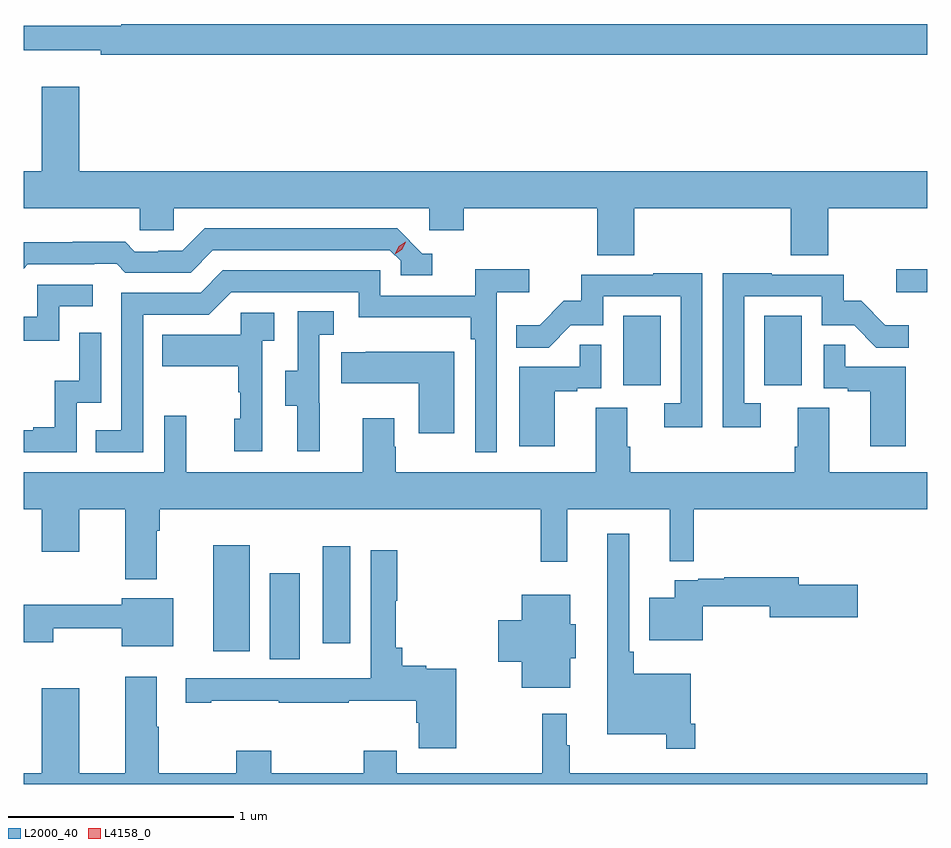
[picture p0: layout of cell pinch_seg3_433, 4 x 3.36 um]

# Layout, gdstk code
import gdstk
lib = gdstk.Library(unit=1e-6, precision=1e-09)
def R(c, l, rs):  # rectangles x0, y0, x1, y1
    for r in rs: c.add(gdstk.rectangle(r[:2], r[2:], *l))
def P(c, l, *ps):  # polygons
    for p in ps: c.add(gdstk.Polygon(p, *l))
L2000_40 = (2000, 40)
L4158_0 = (4158, 0)

pinch_seg3_433 = lib.new_cell('pinch_seg3_433')
R(pinch_seg3_433, L2000_40, [(933.248,666.952,933.382,667.333), (932.999,666.987,933.16,667.456), (933.482,667.023,933.604,667.453), (934.814,668.166,934.978,668.473), (935.438,668.166,935.602,668.473), (936.021,668.576,936.159,668.678)])
P(pinch_seg3_433, L2000_40, [(936.159,669.764),(932.591,669.764),(932.591,669.757),(932.159,669.757),(932.159,669.647),(932.5,669.647),(932.5,669.628),(936.159,669.628)],
  [(934.862,668.948),(935.555,668.948),(935.555,668.74),(935.72,668.74),(935.72,668.948),(936.159,668.948),(936.159,669.112),(932.404,669.112),(932.404,669.487),(932.24,669.487),(932.24,669.112),(932.159,669.112),(932.159,668.948),(932.673,668.948),(932.673,668.85),(932.823,668.85),(932.823,668.948),(933.954,668.948),(933.954,668.85),(934.106,668.85),(934.106,668.948),(934.697,668.948),(934.697,668.74),(934.862,668.74)],
  [(933.967,668.748),(933.924,668.748),(933.813,668.859),(932.96,668.859),(932.861,668.76),(932.754,668.76),(932.754,668.757),(932.651,668.757),(932.609,668.8),(932.376,668.8),(932.376,668.797),(932.159,668.797),(932.159,668.681),(932.178,668.7),(932.471,668.7),(932.471,668.703),(932.57,668.703),(932.609,668.664),(932.898,668.664),(932.997,668.763),(933.78,668.763),(933.828,668.715),(933.828,668.652),(933.967,668.652)],
  [(932.688,668.478),(932.979,668.478),(933.078,668.577),(933.642,668.577),(933.642,668.465),(934.138,668.465),(934.138,668.369),(934.158,668.369),(934.158,667.869),(934.254,667.869),(934.254,668.576),(934.396,668.576),(934.396,668.678),(934.157,668.678),(934.157,668.562),(933.738,668.562),(933.738,668.673),(933.041,668.673),(932.942,668.574),(932.592,668.574),(932.592,667.965),(932.479,667.965),(932.479,667.869),(932.688,667.869)],
  [(935.163,668.66),(934.945,668.66),(934.945,668.655),(934.627,668.655),(934.627,668.538),(934.55,668.538),(934.443,668.431),(934.339,668.431),(934.339,668.332),(934.483,668.332),(934.581,668.43),(934.725,668.43),(934.725,668.559),(935.067,668.559),(935.067,668.085),(934.995,668.085),(934.995,667.98),(935.163,667.98)],
  [(935.422,668.085),(935.349,668.085),(935.349,668.559),(935.691,668.559),(935.691,668.43),(935.835,668.43),(935.933,668.332),(936.077,668.332),(936.077,668.431),(935.973,668.431),(935.866,668.538),(935.79,668.538),(935.79,668.655),(935.471,668.655),(935.471,668.66),(935.253,668.66),(935.253,667.98),(935.422,667.98)],
  [(932.316,668.514),(932.464,668.514),(932.464,668.61),(932.22,668.61),(932.22,668.469),(932.159,668.469),(932.159,668.361),(932.316,668.361)],
  [(933.47,668.085),(933.468,668.085),(933.468,668.389),(933.532,668.389),(933.532,668.492),(933.372,668.492),(933.372,668.229),(933.317,668.229),(933.317,668.074),(933.371,668.074),(933.371,667.872),(933.47,667.872)],
  [(933.216,668.363),(933.268,668.363),(933.268,668.487),(933.12,668.487),(933.12,668.389),(932.773,668.389),(932.773,668.249),(933.108,668.249),(933.108,668.135),(933.118,668.135),(933.118,668.016),(933.092,668.016),(933.092,667.872),(933.216,667.872)],
  [(932.394,668.088),(932.502,668.088),(932.502,668.398),(932.406,668.398),(932.406,668.186),(932.297,668.186),(932.297,667.978),(932.201,667.978),(932.201,667.965),(932.159,667.965),(932.159,667.869),(932.394,667.869)],
  [(936.064,668.247),(935.795,668.247),(935.795,668.345),(935.7,668.345),(935.7,668.151),(935.807,668.151),(935.807,668.139),(935.906,668.139),(935.906,667.896),(936.064,667.896)],
  [(934.51,668.139),(934.61,668.139),(934.61,668.151),(934.716,668.151),(934.716,668.345),(934.621,668.345),(934.621,668.247),(934.352,668.247),(934.352,667.896),(934.51,667.896)],
  [(934.066,668.314),(933.673,668.314),(933.673,668.311),(933.565,668.311),(933.565,668.174),(933.908,668.174),(933.908,667.953),(934.066,667.953)],
  [(932.749,667.52),(932.762,667.52),(932.762,667.616),(934.447,667.616),(934.447,667.383),(934.565,667.383),(934.565,667.616),(935.018,667.616),(935.018,667.387),(935.126,667.387),(935.126,667.616),(936.159,667.616),(936.159,667.78),(935.725,667.78),(935.725,668.066),(935.585,668.066),(935.585,667.892),(935.573,667.892),(935.573,667.78),(934.844,667.78),(934.844,667.892),(934.831,667.892),(934.831,668.066),(934.691,668.066),(934.691,667.78),(933.807,667.78),(933.807,667.892),(933.799,667.892),(933.799,668.02),(933.659,668.02),(933.659,667.78),(932.879,667.78),(932.879,668.029),(932.781,668.029),(932.781,667.78),(932.159,667.78),(932.159,667.616),(932.24,667.616),(932.24,667.428),(932.404,667.428),(932.404,667.616),(932.609,667.616),(932.609,667.307),(932.749,667.307)],
  [(935.132,666.667),(935.112,666.667),(935.112,666.889),(934.859,666.889),(934.859,666.985),(934.839,666.985),(934.839,667.507),(934.742,667.507),(934.742,666.62),(935.004,666.62),(935.004,666.555),(935.132,666.555)],
  [(934.074,666.91),(933.942,666.91),(933.942,666.923),(933.834,666.923),(933.834,667.003),(933.805,667.003),(933.805,667.211),(933.812,667.211),(933.812,667.435),(933.696,667.435),(933.696,666.868),(933.486,666.868),(933.486,666.867),(932.877,666.867),(932.877,666.759),(932.989,666.759),(932.989,666.769),(933.289,666.769),(933.289,666.759),(933.599,666.759),(933.599,666.769),(933.896,666.769),(933.896,666.672),(933.908,666.672),(933.908,666.558),(934.074,666.558)],
  [(935.164,667.186),(935.462,667.186),(935.462,667.139),(935.851,667.139),(935.851,667.281),(935.59,667.281),(935.59,667.315),(935.26,667.315),(935.26,667.308),(935.146,667.308),(935.146,667.302),(935.042,667.302),(935.042,667.225),(934.928,667.225),(934.928,667.037),(935.164,667.037)],
  [(934.579,666.957),(934.603,666.957),(934.603,667.107),(934.579,667.107),(934.579,667.237),(934.364,667.237),(934.364,667.124),(934.259,667.124),(934.259,666.941),(934.364,666.941),(934.364,666.827),(934.579,666.827)],
  [(932.821,667.222),(932.594,667.222),(932.594,667.194),(932.159,667.194),(932.159,667.028),(932.29,667.028),(932.29,667.09),(932.594,667.09),(932.594,667.01),(932.821,667.01)],
  [(932.749,666.653),(932.749,666.874),(932.609,666.874),(932.609,666.448),(932.404,666.448),(932.404,666.823),(932.24,666.823),(932.24,666.448),(932.159,666.448),(932.159,666.4),(936.159,666.4),(936.159,666.448),(934.576,666.448),(934.576,666.572),(934.564,666.572),(934.564,666.712),(934.455,666.712),(934.455,666.448),(933.811,666.448),(933.811,666.547),(933.664,666.547),(933.664,666.448),(933.255,666.448),(933.255,666.547),(933.1,666.547),(933.1,666.448),(932.757,666.448),(932.757,666.653)])
P(pinch_seg3_433, L4158_0, [(933.804,668.748),(933.804,668.749),(933.82,668.781),(933.851,668.801),(933.851,668.801),(933.851,668.801),(933.835,668.768),(933.805,668.748)])

lib.write_gds('pinch_seg3_433.gds')
